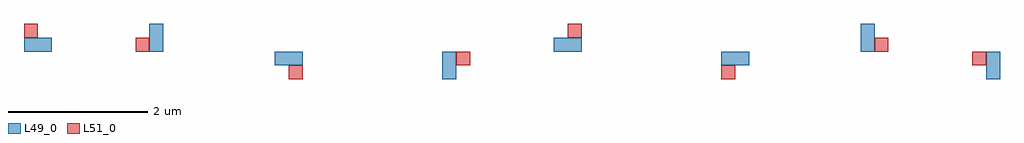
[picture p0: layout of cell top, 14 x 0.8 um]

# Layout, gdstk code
from math import pi, radians
import gdstk
lib = gdstk.Library(unit=1e-6, precision=1e-09)
def R(c, l, rs):  # rectangles x0, y0, x1, y1
    for r in rs: c.add(gdstk.rectangle(r[:2], r[2:], *l))
L49_0 = (49, 0)
L51_0 = (51, 0)

c_c = lib.new_cell('c')
R(c_c, L49_0, [(0,0,0.4,0.2)])
R(c_c, L51_0, [(0,0.2,0.2,0.4)])

top = lib.new_cell('top')
top.add(gdstk.Reference(c_c, (14,0), rotation=3*pi/2, x_reflection=True))
top.add(gdstk.Reference(c_c, (12,0), rotation=pi/2, x_reflection=True))
top.add(gdstk.Reference(c_c, (10,0), x_reflection=True))
top.add(gdstk.Reference(c_c, (8,0), rotation=pi, x_reflection=True))
top.add(gdstk.Reference(c_c, (6,0), rotation=3*pi/2))
top.add(gdstk.Reference(c_c, (4,0), rotation=pi))
top.add(gdstk.Reference(c_c, (2,0), rotation=pi/2))
top.add(gdstk.Reference(c_c, (0,0)))

lib.write_gds('top.gds')
